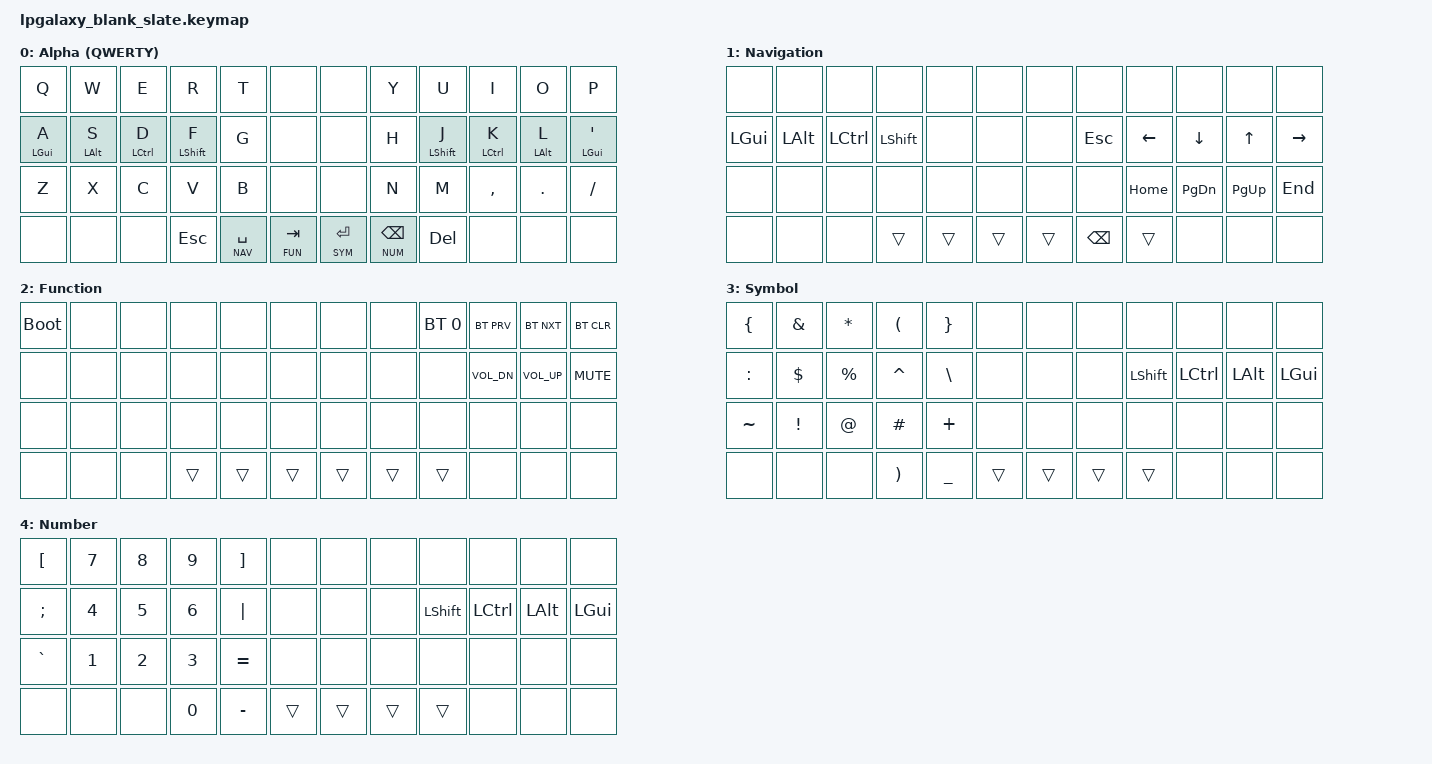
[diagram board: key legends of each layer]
/*
 * Copyright (c) 2022 Pete Johanson
 * Modified by Sam Boysel 
 *
 * SPDX-License-Identifier: MIT
 */

#include <behaviors.dtsi>
#include <dt-bindings/zmk/keys.h>
#include <dt-bindings/zmk/bt.h>
#include <dt-bindings/zmk/outputs.h>

#define ALPHA  0
#define NAV    1
#define FUN    2
#define SYM    3
#define NUM    4

&mt {
    flavor = "tap-preferred";
    tapping_term_ms = <180>;
};

&lt {
    tapping_term_ms = <150>;
};

/ {

    keymap {
        compatible = "zmk,keymap";

        alpha_layer {
            label = "Alpha (QWERTY)";
            bindings = <
&kp Q       &kp W       &kp E        &kp R        &kp T          &none        &none        &kp Y         &kp U        &kp I        &kp O       &kp P
&mt LGUI A  &mt LALT S  &mt LCTRL D  &mt LSHFT F  &kp G          &none        &none        &kp H         &mt LSHFT J  &mt LCTRL K  &mt LALT L  &mt LGUI QUOT
&kp Z       &kp X       &kp C        &kp V        &kp B          &none        &none        &kp N         &kp M        &kp COMMA    &kp DOT     &kp FSLH  
&none       &none       &none        &kp ESC      &lt NAV SPACE  &lt FUN TAB  &lt SYM RET  &lt NUM BSPC  &kp DEL      &none        &none       &none
            >;
        };

        nav_layer {
            label = "Navigation";    
            bindings = <
&none       &none       &none        &none        &none          &none        &none        &none      &none        &none        &none       &none 
&kp LGUI    &kp LALT    &kp LCTRL    &kp LSHFT    &none          &none        &none        &kp ESC    &kp LEFT     &kp DOWN     &kp UP      &kp RIGHT
&none       &none       &none        &none        &none          &none        &none        &none      &kp HOME     &kp PG_DN    &kp PG_UP   &kp END    
&none       &none       &none        &trans       &trans         &trans       &trans       &kp BSPC   &trans       &none        &none       &none
            >;
        };
        
        fun_layer {
            label = "Function";
            bindings = <
&bootloader &none       &none        &none        &none          &none        &none        &none      &bt BT_SEL 0  &bt BT_PRV    &bt BT_NXT    &bt BT_CLR 
&none       &none       &none        &none        &none          &none        &none        &none      &none         &kp C_VOL_DN  &kp C_VOL_UP  &kp C_MUTE
&none       &none       &none        &none        &none          &none        &none        &none      &none         &none         &none         &none    
&none       &none       &none        &trans       &trans         &trans       &trans       &trans     &trans        &none         &none         &none
            >;
        };

        sym_layer {
            label = "Symbol";
            bindings = <
&kp LBRC    &kp AMPS    &kp STAR     &kp LPAR     &kp RBRC       &none        &none        &none      &none        &none        &none       &none 
&kp COLON   &kp DLLR    &kp PRCNT    &kp CARET    &kp BSLH       &none        &none        &none      &kp LSHFT    &kp LCTRL    &kp LALT    &kp LGUI
&kp TILDE   &kp EXCL    &kp AT       &kp HASH     &kp PLUS       &none        &none        &none      &none        &none        &none       &none    
&none       &none       &none        &kp RPAR     &kp UNDER      &trans       &trans       &trans     &trans       &none        &none       &none
            >;
        };

        num_layer {
            label = "Number";
            bindings = <
&kp LBKT    &kp N7      &kp N8       &kp N9       &kp RBKT       &none        &none        &none      &none        &none        &none       &none 
&kp SEMI    &kp N4      &kp N5       &kp N6       &kp PIPE       &none        &none        &none      &kp LSHFT    &kp LCTRL    &kp LALT    &kp LGUI
&kp GRAVE   &kp N1      &kp N2       &kp N3       &kp EQUAL      &none        &none        &none      &none        &none        &none       &none    
&none       &none       &none        &kp N0       &kp MINUS      &trans       &trans       &trans     &trans       &none        &none       &none
            >;
        };

    };
};

